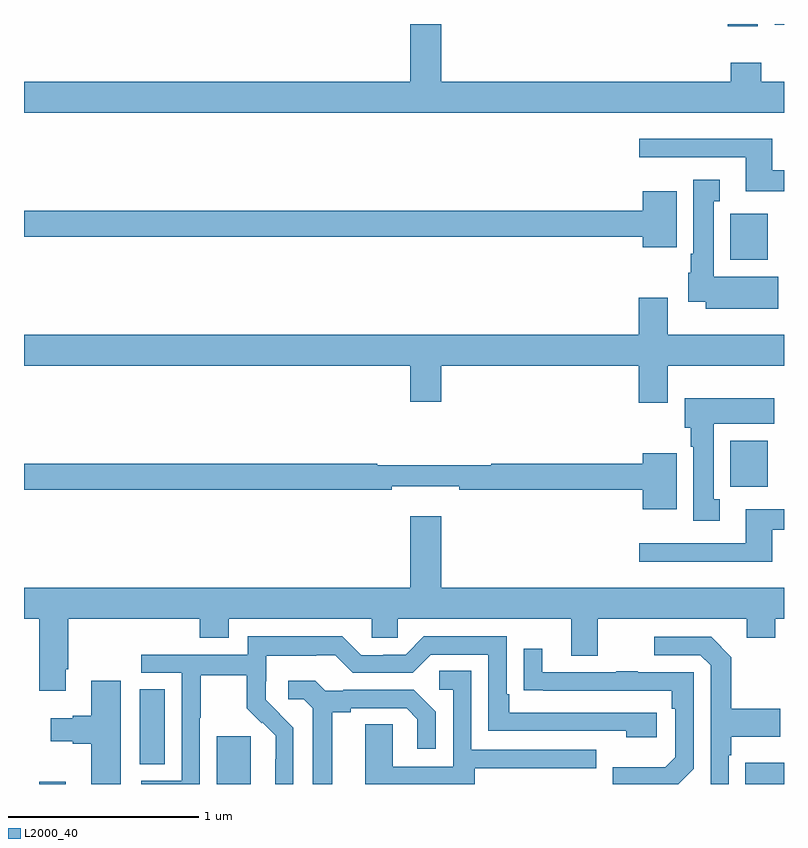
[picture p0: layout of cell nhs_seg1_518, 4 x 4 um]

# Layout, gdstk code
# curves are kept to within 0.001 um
import gdstk
lib = gdstk.Library(unit=1e-6, precision=1e-09)
def R(c, l, rs):  # rectangles x0, y0, x1, y1
    for r in rs: c.add(gdstk.rectangle(r[:2], r[2:], *l))
def P(c, l, *ps):  # polygons
    for p in ps: c.add(gdstk.Polygon(p, *l))
L2000_40 = (2000, 40)

nhs_seg1_518 = lib.new_cell('nhs_seg1_518')
R(nhs_seg1_518, L2000_40, [(139.079,548.199,139.219,548.212), (140.015,548.199,140.194,548.451), (142.795,548.199,143,548.311), (139.61,548.302,139.741,548.699), (142.718,549.764,142.915,550.006), (142.718,550.958,142.915,551.2), (142.703,552.186,142.861,552.199), (142.95,552.195,143,552.199)])
P(nhs_seg1_518, L2000_40, [(143,551.896),(142.881,551.896),(142.881,551.995),(142.721,551.995),(142.721,551.896),(141.196,551.896),(141.196,552.199),(141.032,552.199),(141.032,551.896),(139,551.896),(139,551.732),(143,551.732)],
  [(143,551.428),(142.939,551.428),(142.939,551.596),(142.239,551.596),(142.239,551.499),(142.799,551.499),(142.799,551.318),(143,551.318)],
  [(142.969,550.87),(142.63,550.87),(142.63,551.267),(142.663,551.267),(142.663,551.38),(142.523,551.38),(142.523,550.99),(142.508,550.99),(142.508,550.89),(142.496,550.89),(142.496,550.736),(142.589,550.736),(142.589,550.7),(142.969,550.7)],
  [(142.435,551.32),(142.256,551.32),(142.256,551.216),(139,551.216),(139,551.08),(142.256,551.08),(142.256,551.024),(142.435,551.024)],
  [(142.387,550.4),(143,550.4),(143,550.564),(142.387,550.564),(142.387,550.759),(142.235,550.759),(142.235,550.564),(139,550.564),(139,550.4),(141.032,550.4),(141.032,550.212),(141.196,550.212),(141.196,550.4),(142.235,550.4),(142.235,550.206),(142.387,550.206)],
  [(142.663,549.698),(142.63,549.698),(142.63,550.094),(142.948,550.094),(142.948,550.228),(142.478,550.228),(142.478,550.074),(142.508,550.074),(142.508,549.974),(142.523,549.974),(142.523,549.585),(142.663,549.585)],
  [(142.435,549.94),(142.256,549.94),(142.256,549.884),(141.46,549.884),(141.46,549.877),(140.86,549.877),(140.86,549.884),(139,549.884),(139,549.748),(140.936,549.748),(140.936,549.767),(141.292,549.767),(141.292,549.748),(142.256,549.748),(142.256,549.644),(142.435,549.644)],
  [(142.939,549.537),(143,549.537),(143,549.646),(142.799,549.646),(142.799,549.465),(142.239,549.465),(142.239,549.368),(142.939,549.368)],
  [(139.219,548.803),(139.232,548.803),(139.232,549.068),(139.925,549.068),(139.925,548.969),(140.077,548.969),(140.077,549.068),(140.829,549.068),(140.829,548.97),(140.967,548.97),(140.967,549.068),(141.881,549.068),(141.881,548.874),(142.021,548.874),(142.021,549.068),(142.805,549.068),(142.805,548.969),(142.953,548.969),(142.953,549.068),(143,549.068),(143,549.232),(141.196,549.232),(141.196,549.607),(141.032,549.607),(141.032,549.232),(139,549.232),(139,549.068),(139.079,549.068),(139.079,548.691),(139.219,548.691)],
  [(139.926,548.548),(139.929,548.548),(139.929,548.772),(140.173,548.772),(140.173,548.597),(140.25,548.52),(140.253,548.523),(140.324,548.453),(140.324,548.33),(140.322,548.33),(140.322,548.199),(140.418,548.199),(140.418,548.494),(140.272,548.642),(140.272,548.739),(140.274,548.739),(140.274,548.873),(140.537,548.873),(140.537,548.877),(140.637,548.877),(140.73,548.784),(141.045,548.784),(141.141,548.88),(141.444,548.88),(141.444,548.478),(142.169,548.478),(142.169,548.444),(142.33,548.444),(142.33,548.574),(141.553,548.574),(141.553,548.671),(141.54,548.671),(141.54,548.976),(141.105,548.976),(141.009,548.88),(140.891,548.88),(140.891,548.877),(140.775,548.877),(140.675,548.977),(140.178,548.977),(140.178,548.88),(139.617,548.88),(139.617,548.784),(139.83,548.784),(139.83,548.217),(139.617,548.217),(139.617,548.199),(139.926,548.199)],
  [(142.71,548.351),(142.723,548.351),(142.723,548.447),(142.979,548.447),(142.979,548.595),(142.723,548.595),(142.723,548.867),(142.617,548.973),(142.317,548.973),(142.317,548.877),(142.56,548.877),(142.614,548.823),(142.614,548.199),(142.71,548.199)],
  [(142.524,548.28),(142.524,548.787),(142.229,548.787),(142.229,548.792),(142.117,548.792),(142.117,548.787),(141.727,548.787),(141.727,548.911),(141.631,548.911),(141.631,548.692),(142.408,548.691),(142.408,548.594),(142.428,548.594),(142.428,548.34),(142.375,548.287),(142.098,548.287),(142.098,548.199),(142.443,548.199)],
  [(141.373,548.283),(142.013,548.283),(142.013,548.379),(141.354,548.379),(141.354,548.795),(141.186,548.795),(141.186,548.694),(141.258,548.694),(141.258,548.289),(140.94,548.289),(140.94,548.513),(140.795,548.513),(140.795,548.199),(141.373,548.199)],
  [(139.51,548.743),(139.355,548.743),(139.355,548.558),(139.256,548.558),(139.256,548.545),(139.14,548.545),(139.14,548.423),(139.256,548.423),(139.256,548.411),(139.355,548.411),(139.355,548.199),(139.51,548.199)],
  [(140.623,548.576),(140.719,548.576),(140.719,548.598),(141.014,548.598),(141.071,548.541),(141.071,548.385),(141.168,548.385),(141.168,548.578),(141.052,548.694),(140.68,548.694),(140.68,548.691),(140.586,548.691),(140.534,548.743),(140.391,548.743),(140.391,548.646),(140.472,548.646),(140.519,548.599),(140.519,548.199),(140.623,548.199)])

lib.write_gds('nhs_seg1_518.gds')
